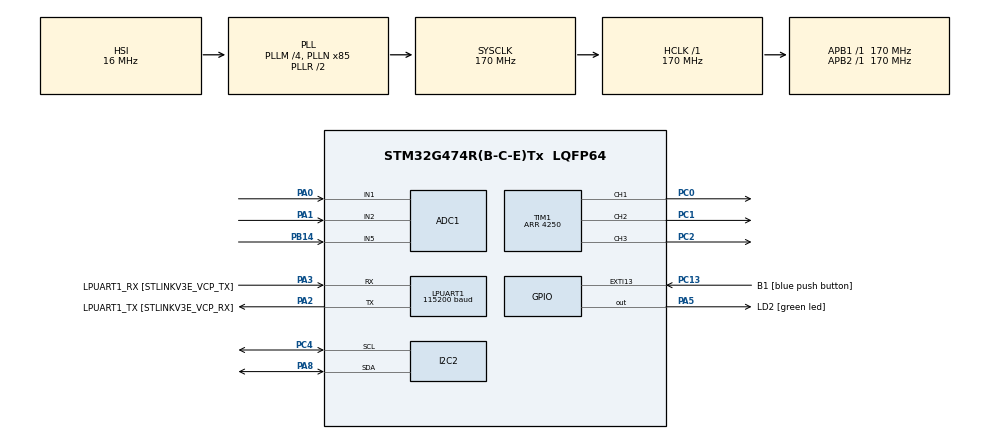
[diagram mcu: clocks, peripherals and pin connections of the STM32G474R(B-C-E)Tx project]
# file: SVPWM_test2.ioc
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ADC1.EnableInjectedConversion=ENABLE
ADC1.EnableRegularConversion=DISABLE
ADC1.ExternalTrigInjecConv=ADC_EXTERNALTRIGINJEC_T1_TRGO2
ADC1.InjNumberOfConversion=3
ADC1.InjectedChannel-10\#ChannelInjectedConversion=ADC_CHANNEL_2
ADC1.InjectedChannel-11\#ChannelInjectedConversion=ADC_CHANNEL_5
ADC1.InjectedChannel-8\#ChannelInjectedConversion=ADC_CHANNEL_1
ADC1.InjectedOffsetNumber-10\#ChannelInjectedConversion=ADC_OFFSET_NONE
ADC1.InjectedOffsetNumber-11\#ChannelInjectedConversion=ADC_OFFSET_NONE
ADC1.InjectedOffsetNumber-8\#ChannelInjectedConversion=ADC_OFFSET_NONE
ADC1.InjectedRank-10\#ChannelInjectedConversion=2
ADC1.InjectedRank-11\#ChannelInjectedConversion=3
ADC1.InjectedRank-8\#ChannelInjectedConversion=1
ADC1.InjectedSamplingTime-10\#ChannelInjectedConversion=ADC_SAMPLETIME_12CYCLES_5
ADC1.InjectedSamplingTime-11\#ChannelInjectedConversion=ADC_SAMPLETIME_12CYCLES_5
ADC1.InjectedSamplingTime-8\#ChannelInjectedConversion=ADC_SAMPLETIME_12CYCLES_5
ADC1.Rank2_Channel=ADC_CHANNEL_2
ADC1.Rank3_Channel=ADC_CHANNEL_5
ADC1.master=1
I2C2.Timing=0x30A0A7FB
LPUART1.BaudRate=115200
LPUART1.WordLength=UART_WORDLENGTH_8B
Mcu.Family=STM32G4
Mcu.Name=STM32G474R(B-C-E)Tx
Mcu.Package=LQFP64
NVIC.ADC1_2_IRQn=true\:0\:0\:false\:false\:true\:true\:true\:true
NVIC.EXTI15_10_IRQn=true\:0\:0\:false\:false\:true\:true\:true\:true
NVIC.PriorityGroup=NVIC_PRIORITYGROUP_4
PA0.Mode=IN1-Single-Ended
PA0.Signal=ADC1_IN1
PA1.Mode=IN2-Single-Ended
PA1.Signal=ADC1_IN2
PA13.GPIO_Label=T_SWDIO
PA13.Mode=Serial_Wire
PA13.Signal=SYS_JTMS-SWDIO
PA14.GPIO_Label=T_SWCLK
PA14.Mode=Serial_Wire
PA14.Signal=SYS_JTCK-SWCLK
PA2.GPIO_Label=LPUART1_TX [STLINKV3E_VCP_RX]
PA2.Mode=Asynchronous
PA2.Signal=LPUART1_TX
PA3.GPIO_Label=LPUART1_RX [STLINKV3E_VCP_TX]
PA3.Mode=Asynchronous
PA3.Signal=LPUART1_RX
PA5.GPIO_Label=LD2 [green led]
PA5.Signal=GPIO_Output
PA8.Mode=I2C
PA8.Signal=I2C2_SDA
PB14.Mode=IN5-Single-Ended
PB14.Signal=ADC1_IN5
PB3.GPIO_Label=T_SWO
PB3.Signal=SYS_JTDO-SWO
PC0.Signal=S_TIM1_CH1
PC1.Signal=S_TIM1_CH2
PC13.GPIO_Label=B1 [blue push button]
PC13.Signal=GPXTI13
PC14-OSC32_IN.Mode=LSE-External-Oscillator
PC14-OSC32_IN.Signal=RCC_OSC32_IN
PC15-OSC32_OUT.Mode=LSE-External-Oscillator
PC15-OSC32_OUT.Signal=RCC_OSC32_OUT
PC2.Signal=S_TIM1_CH3
PC4.Mode=I2C
PC4.Signal=I2C2_SCL
PF0-OSC_IN.Mode=HSE-External-Oscillator
PF0-OSC_IN.Signal=RCC_OSC_IN
PF1-OSC_OUT.Mode=HSE-External-Oscillator
PF1-OSC_OUT.Signal=RCC_OSC_OUT
ProjectManager.HeapSize=0x200
ProjectManager.StackSize=0x400
ProjectManager.TargetToolchain=STM32CubeIDE
RCC.ADC12Freq_Value=170000000
RCC.ADC345Freq_Value=170000000
RCC.AHBFreq_Value=170000000
RCC.APB1Freq_Value=170000000
RCC.APB1TimFreq_Value=170000000
RCC.APB2Freq_Value=170000000
RCC.APB2TimFreq_Value=170000000
RCC.CortexFreq_Value=170000000
RCC.EXTERNAL_CLOCK_VALUE=12288000
RCC.HCLKFreq_Value=170000000
RCC.HSE_VALUE=24000000
RCC.HSI48_VALUE=48000000
RCC.HSI_VALUE=16000000
RCC.PLLM=RCC_PLLM_DIV4
RCC.PLLN=85
RCC.RTCClockSelection=RCC_RTCCLKSOURCE_LSE
RCC.SYSCLKFreq_VALUE=170000000
RCC.SYSCLKSource=RCC_SYSCLKSOURCE_PLLCLK
RCC.USBFreq_Value=170000000
RCC.VCOOutputFreq_Value=340000000
SH.S_TIM1_CH1.0=TIM1_CH1,PWM Generation1 CH1
SH.S_TIM1_CH2.0=TIM1_CH2,PWM Generation2 CH2
SH.S_TIM1_CH3.0=TIM1_CH3,PWM Generation3 CH3
TIM1.Channel-PWM\ Generation1\ CH1=TIM_CHANNEL_1
TIM1.Channel-PWM\ Generation2\ CH2=TIM_CHANNEL_2
TIM1.Channel-PWM\ Generation3\ CH3=TIM_CHANNEL_3
TIM1.Channel-PWM\ Generation4\ No\ Output=TIM_CHANNEL_4
TIM1.CounterMode=TIM_COUNTERMODE_CENTERALIGNED1
TIM1.OCMode_PWM-PWM\ Generation1\ CH1=TIM_OCMODE_PWM2
TIM1.OCMode_PWM-PWM\ Generation2\ CH2=TIM_OCMODE_PWM2
TIM1.OCMode_PWM-PWM\ Generation3\ CH3=TIM_OCMODE_PWM2
TIM1.PeriodNoDither=4250
TIM1.RepetitionCounter=1
TIM1.TIM_MasterOutputTrigger=TIM_TRGO_RESET
TIM1.TIM_MasterOutputTrigger2=TIM_TRGO2_OC4REF
VP_SYS_VS_DBSignals.Mode=DisableDeadBatterySignals
VP_TIM1_VS_ClockSourceINT.Mode=Internal
VP_TIM1_VS_no_output4.Mode=PWM Generation4 No Output
board=NUCLEO-G474RE

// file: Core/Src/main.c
/* USER CODE BEGIN Header */
/**
  ******************************************************************************
  * @file           : main.c
  * @brief          : Main program body
  ******************************************************************************
  * @attention
  *
  * Copyright (c) 2025 STMicroelectronics.
  * All rights reserved.
  *
  * This software is licensed under terms that can be found in the LICENSE file
  * in the root directory of this software component.
  * If no LICENSE file comes with this software, it is provided AS-IS.
  *
  ******************************************************************************
  */
/* USER CODE END Header */
#include "main.h"

/* USER CODE BEGIN Includes */
#include <math.h>
#include <stdio.h>
/* USER CODE END Includes */

/* USER CODE BEGIN PD */
// --- ハードウェア定数 ---
#define POLE_PAIRS 7.0f       // GBM2804: 7極対
#define V_REF 12.0f           // 電源電圧 12V
#define PWM_PERIOD 4250.0f    // ARR値
#define DRV8311_GAIN 1.0f     // 電流センスゲイン [V/A]

// --- I2Cアドレス (AS5600) ---
#define AS5600_ADDR (0x36 << 1)

// --- 制御ゲイン (Day 17設定) ---
#define KP_GAIN 1.0f          // Pゲイン: 実機で 0.6 から引き上げ
#define KI_GAIN 1.3f         // Iゲイン: 積分で誤差を潰す
#define IQ_TARGET 0.6f        // 定数トルク指令で試す場合の目標電流 [A]
                              // ※バネ動作時は未使用（Iq_ref を計算で求める）

// 電圧制限 (12V電源の半分くらいを上限に、過剰な電圧を防ぐ)
#define VOLTAGE_LIMIT 6.0f

#define CONTROL_DT  (1.0f / 20000.0f)   // 制御周期 (50us)
/* USER CODE END PD */

ADC_HandleTypeDef hadc1;

I2C_HandleTypeDef hi2c2;

UART_HandleTypeDef hlpuart1;

TIM_HandleTypeDef htim1;

/* USER CODE BEGIN PV */
// --- FOC用 変数 ---
// 1. センサ値
float Theta_mech = 0.0f;      // 機械角 [rad]
float Theta_elec = 0.0f;      // 電気角 [rad]
float zero_offset_mech = 0.0f; // アライメントオフセット

// 2. 電流値 (ADC & 変換後)
// volatileをつけることでISRとMainでの共有を安全にする
volatile float g_Iu = 0.0f, g_Iv = 0.0f, g_Iw = 0.0f;
volatile float g_Id = 0.0f, g_Iq = 0.0f;

// 3. 角度共有用
volatile float g_theta_elec = 0.0f;
float g_total_angle = 0.0f;  // これが「何回転したか」を含む総角度
float prev_mech_angle = 0.0f; // 前回の角度を覚えておく

// 4. PI制御用
float Id_err_int = 0.0f;      // d軸積分項
float Iq_err_int = 0.0f;      // q軸積分項

// 5. 出力Duty (ログ用)
volatile float g_duty_u = 0.5f, g_duty_v = 0.5f, g_duty_w = 0.5f;

// 6. キャリブレーション (0A基準値)
float offset_u = 2048.0f;
float offset_v = 2048.0f;
float offset_w = 2048.0f;

// 制御有効フラグ
volatile uint8_t foc_enable = 0;

// --- サンプリング位置の検証用（制御には使わない。確認後は削除可） ---
// ISR が走った時点の TIM1 カウンタと計数方向を記録する。
// TRGO2=OC4REF / CCR4=2125 の場合、理論上は谷底の 12.5us 手前
// （ダウンカウント中の CNT≈2124）でトリガされるはず。
volatile uint32_t g_debug_cnt = 0;
volatile uint8_t  g_debug_dir = 0;   // 0 = アップカウント, 1 = ダウンカウント
/* USER CODE END PV */

void SystemClock_Config(void);
static void MX_GPIO_Init(void);
static void MX_LPUART1_UART_Init(void);
static void MX_TIM1_Init(void);
static void MX_ADC1_Init(void);
static void MX_I2C2_Init(void);

/* USER CODE BEGIN 0 */
// printf用
int _write(int file, char *ptr, int len) {
  HAL_UART_Transmit(&hlpuart1, (uint8_t *)ptr, len, 100);
  return len;
}

// AS5600 角度取得
float AS5600_GetAngle(void) {
    uint8_t raw[2];
    HAL_I2C_Mem_Read(&hi2c2, AS5600_ADDR, 0x0C, I2C_MEMADD_SIZE_8BIT, raw, 2, 10);
    uint16_t val = ((uint16_t)raw[0] << 8) | raw[1];
    return (float)val * (2.0f * M_PI / 4096.0f);
}

// 角度正規化
float normalize_angle(float angle) {
    float a = fmod(angle, 2.0f * M_PI);
    return (a < 0.0f) ? a + 2.0f * M_PI : a;
}

static inline float clampf(float x, float lo, float hi) {
    if (x < lo) return lo;
    if (x > hi) return hi;
    return x;
}

static inline void DWT_Init(void) {
  CoreDebug->DEMCR |= CoreDebug_DEMCR_TRCENA_Msk;
  DWT->CYCCNT = 0;
  DWT->CTRL |= DWT_CTRL_CYCCNTENA_Msk;
}
/* USER CODE END 0 */

int main(void)
{

  /* MCU Configuration--------------------------------------------------------*/

  /* Reset of all peripherals, Initializes the Flash interface and the Systick. */
  HAL_Init();

  /* Configure the system clock */
  SystemClock_Config();

  /* Initialize all configured peripherals */
  MX_GPIO_Init();
  MX_LPUART1_UART_Init();
  MX_TIM1_Init();
  MX_ADC1_Init();
  MX_I2C2_Init();
  /* USER CODE BEGIN 2 */
  SystemCoreClockUpdate();
    DWT_Init();

    printf("=== Day 17: Current Control Mode Start ===\r\n");

    // ADCトリガ用。CH4 は PWM Mode 1 なので、ダウンカウント中に
    // CNT が CCR4 を下回った瞬間に TRGO2 が立ち上がる。
    // CCR4=200 → 谷底の約 1.2us 手前でトリガし、3相の変換ウィンドウが
    // 谷底をまたぐ形になる（ローサイド ON 期間を外さないため）。
    //   旧: PWM_PERIOD*0.5f = 2125 → 谷底の 12.5us 手前（Duty>50% の相で
    //       ハイサイド ON のまま読んでいた）
    TIM1->CCR4 = 200;

    // PWM開始
    HAL_TIM_PWM_Start(&htim1, TIM_CHANNEL_1);
    HAL_TIM_PWM_Start(&htim1, TIM_CHANNEL_2);
    HAL_TIM_PWM_Start(&htim1, TIM_CHANNEL_3);
    HAL_TIM_PWM_Start(&htim1, TIM_CHANNEL_4); // ADCトリガ用

    // ADCキャリブレーション & 開始
    HAL_ADCEx_Calibration_Start(&hadc1, ADC_SINGLE_ENDED);
    // 割り込みはまだ有効にしない(enableフラグでガード)
    foc_enable = 0;
    HAL_ADCEx_InjectedStart_IT(&hadc1);

    // --- 1. オフセットキャリブレーション (電流センサ0点) ---
    printf("Calibrating Current Offsets...\r\n");
    // 全相LOW (Mode2なのでCCR=ARR)
    TIM1->CCR1 = 4250; TIM1->CCR2 = 4250; TIM1->CCR3 = 4250;
    HAL_Delay(500);

    long sum_u = 0, sum_v = 0, sum_w = 0;
    for(int i=0; i<1000; i++) {
      sum_u += ADC1->JDR1;
      sum_v += ADC1->JDR2;
      sum_w += ADC1->JDR3;
      HAL_Delay(1);
    }
    offset_u = (float)sum_u / 1000.0f;
    offset_v = (float)sum_v / 1000.0f;
    offset_w = (float)sum_w / 1000.0f;
    printf("Offsets: U=%.1f, V=%.1f, W=%.1f\r\n", offset_u, offset_v, offset_w);

    // --- 2. エンコーダアライメント (電気角0点合わせ) ---
    printf("Aligning Encoder...\r\n");
    // U相に電圧印加 (Mode2: CCR小 = Duty大)
    // Duty = (ARR - CCR) / ARR
    TIM1->CCR1 = 500;  // Duty 88.2% … ローターを確実に引き込むため Day16 より強め
    TIM1->CCR2 = 4250; // Duty  0%
    TIM1->CCR3 = 4250; // Duty  0%
    HAL_Delay(1000);

    float raw = AS5600_GetAngle();
    // ★重要: 前回成功した「逆回転ロジック」を維持
    //zero_offset_mech = 2.0f * M_PI - raw;
    //if(zero_offset_mech < 0) zero_offset_mech += 2.0f*M_PI;
    //if(zero_offset_mech > 2.0f*M_PI) zero_offset_mech -= 2.0f*M_PI;
    zero_offset_mech = raw;
    printf("Encoder Offset: %.2f rad\r\n", zero_offset_mech);

    // 電圧オフ
    TIM1->CCR1 = 4250; TIM1->CCR2 = 4250; TIM1->CCR3 = 4250;
    HAL_Delay(500);
    prev_mech_angle = AS5600_GetAngle(); // 逆回転対応不要ならそのまま
      g_total_angle = 0.0f; // ここを基準点(0)にする
    // --- 制御開始 ---
    printf("Start Closed Loop Control!\r\n");
    foc_enable = 1; // これでISR内の制御が走り出す
  /* USER CODE END 2 */

  /* Infinite loop */
  /* USER CODE BEGIN WHILE */
    int count = 0;
    while (1)
      {
    	float raw = AS5600_GetAngle();
    	      Theta_mech = raw; // 素直な値

    	      // 電気角計算 (FOC用)
    	      Theta_elec = normalize_angle((Theta_mech - zero_offset_mech) * POLE_PAIRS);
    	      g_theta_elec = Theta_elec; // ISRに渡す

    	      // ★追加: 累積角度の計算 (マルチターン対応)
    	      float delta = Theta_mech - prev_mech_angle;

    	      // 「0 ⇔ 2π」の継ぎ目またぎ検知
    	      if (delta > M_PI)  delta -= 2.0f * M_PI; // 0 -> 360 をまたいだ(逆回転)
    	      if (delta < -M_PI) delta += 2.0f * M_PI; // 360 -> 0 をまたいだ(正回転)

    	      g_total_angle += delta; // 変化量を足し込む
    	      prev_mech_angle = Theta_mech; // 次回用に保存

          // 2. ログ出力 (低頻度で)
          count++;
          if(count >= 50) { // ループ速度によるが適度に間引く
              // ISRで計算された電流値やDutyを表示
              // CNT/DIR はサンプリング位置の検証用（確認後は削除可）
              printf("Th:%.2f Id:%.2f Iq:%.2f du:%.2f CNT:%lu DIR:%u\r\n",
                      g_theta_elec, g_Id, g_Iq, g_duty_u,
                      (unsigned long)g_debug_cnt, (unsigned)g_debug_dir);
              count = 0;
          }
          // Delayは入れない（角度更新を早くするため）
      }

    /* USER CODE END WHILE */

}

void SystemClock_Config(void)
{
  RCC_OscInitTypeDef RCC_OscInitStruct = {0};
  RCC_ClkInitTypeDef RCC_ClkInitStruct = {0};

  /** Configure the main internal regulator output voltage
  */
  HAL_PWREx_ControlVoltageScaling(PWR_REGULATOR_VOLTAGE_SCALE1_BOOST);

  /** Initializes the RCC Oscillators according to the specified parameters
  * in the RCC_OscInitTypeDef structure.
  */
  RCC_OscInitStruct.OscillatorType = RCC_OSCILLATORTYPE_HSI;
  RCC_OscInitStruct.HSIState = RCC_HSI_ON;
  RCC_OscInitStruct.HSICalibrationValue = RCC_HSICALIBRATION_DEFAULT;
  RCC_OscInitStruct.PLL.PLLState = RCC_PLL_ON;
  RCC_OscInitStruct.PLL.PLLSource = RCC_PLLSOURCE_HSI;
  RCC_OscInitStruct.PLL.PLLM = RCC_PLLM_DIV4;
  RCC_OscInitStruct.PLL.PLLN = 85;
  RCC_OscInitStruct.PLL.PLLP = RCC_PLLP_DIV2;
  RCC_OscInitStruct.PLL.PLLQ = RCC_PLLQ_DIV2;
  RCC_OscInitStruct.PLL.PLLR = RCC_PLLR_DIV2;
  if (HAL_RCC_OscConfig(&RCC_OscInitStruct) != HAL_OK)
  {
    Error_Handler();
  }

  /** Initializes the CPU, AHB and APB buses clocks
  */
  RCC_ClkInitStruct.ClockType = RCC_CLOCKTYPE_HCLK|RCC_CLOCKTYPE_SYSCLK
                              |RCC_CLOCKTYPE_PCLK1|RCC_CLOCKTYPE_PCLK2;
  RCC_ClkInitStruct.SYSCLKSource = RCC_SYSCLKSOURCE_PLLCLK;
  RCC_ClkInitStruct.AHBCLKDivider = RCC_SYSCLK_DIV1;
  RCC_ClkInitStruct.APB1CLKDivider = RCC_HCLK_DIV1;
  RCC_ClkInitStruct.APB2CLKDivider = RCC_HCLK_DIV1;

  if (HAL_RCC_ClockConfig(&RCC_ClkInitStruct, FLASH_LATENCY_4) != HAL_OK)
  {
    Error_Handler();
  }
}

static void MX_ADC1_Init(void)
{

  ADC_MultiModeTypeDef multimode = {0};
  ADC_InjectionConfTypeDef sConfigInjected = {0};

  /** Common config
  */
  hadc1.Instance = ADC1;
  hadc1.Init.ClockPrescaler = ADC_CLOCK_SYNC_PCLK_DIV4;
  hadc1.Init.Resolution = ADC_RESOLUTION_12B;
  hadc1.Init.DataAlign = ADC_DATAALIGN_RIGHT;
  hadc1.Init.GainCompensation = 0;
  hadc1.Init.ScanConvMode = ADC_SCAN_ENABLE;
  hadc1.Init.EOCSelection = ADC_EOC_SINGLE_CONV;
  hadc1.Init.LowPowerAutoWait = DISABLE;
  hadc1.Init.ContinuousConvMode = DISABLE;
  hadc1.Init.NbrOfConversion = 1;
  hadc1.Init.DiscontinuousConvMode = DISABLE;
  hadc1.Init.DMAContinuousRequests = DISABLE;
  hadc1.Init.Overrun = ADC_OVR_DATA_PRESERVED;
  hadc1.Init.OversamplingMode = DISABLE;
  if (HAL_ADC_Init(&hadc1) != HAL_OK)
  {
    Error_Handler();
  }

  /** Configure the ADC multi-mode
  */
  multimode.Mode = ADC_MODE_INDEPENDENT;
  if (HAL_ADCEx_MultiModeConfigChannel(&hadc1, &multimode) != HAL_OK)
  {
    Error_Handler();
  }

  /** Configure Injected Channel
  */
  sConfigInjected.InjectedChannel = ADC_CHANNEL_1;
  sConfigInjected.InjectedRank = ADC_INJECTED_RANK_1;
  sConfigInjected.InjectedSamplingTime = ADC_SAMPLETIME_12CYCLES_5;
  sConfigInjected.InjectedSingleDiff = ADC_SINGLE_ENDED;
  sConfigInjected.InjectedOffsetNumber = ADC_OFFSET_NONE;
  sConfigInjected.InjectedOffset = 0;
  sConfigInjected.InjectedNbrOfConversion = 3;
  sConfigInjected.InjectedDiscontinuousConvMode = DISABLE;
  sConfigInjected.AutoInjectedConv = DISABLE;
  sConfigInjected.QueueInjectedContext = DISABLE;
  sConfigInjected.ExternalTrigInjecConv = ADC_EXTERNALTRIGINJEC_T1_TRGO2;
  sConfigInjected.ExternalTrigInjecConvEdge = ADC_EXTERNALTRIGINJECCONV_EDGE_RISING;
  sConfigInjected.InjecOversamplingMode = DISABLE;
  if (HAL_ADCEx_InjectedConfigChannel(&hadc1, &sConfigInjected) != HAL_OK)
  {
    Error_Handler();
  }

  /** Configure Injected Channel
  */
  sConfigInjected.InjectedChannel = ADC_CHANNEL_2;
  sConfigInjected.InjectedRank = ADC_INJECTED_RANK_2;
  if (HAL_ADCEx_InjectedConfigChannel(&hadc1, &sConfigInjected) != HAL_OK)
  {
    Error_Handler();
  }

  /** Configure Injected Channel
  */
  sConfigInjected.InjectedChannel = ADC_CHANNEL_5;
  sConfigInjected.InjectedRank = ADC_INJECTED_RANK_3;
  if (HAL_ADCEx_InjectedConfigChannel(&hadc1, &sConfigInjected) != HAL_OK)
  {
    Error_Handler();
  }

}

static void MX_I2C2_Init(void)
{

  hi2c2.Instance = I2C2;
  hi2c2.Init.Timing = 0x30A0A7FB;
  hi2c2.Init.OwnAddress1 = 0;
  hi2c2.Init.AddressingMode = I2C_ADDRESSINGMODE_7BIT;
  hi2c2.Init.DualAddressMode = I2C_DUALADDRESS_DISABLE;
  hi2c2.Init.OwnAddress2 = 0;
  hi2c2.Init.OwnAddress2Masks = I2C_OA2_NOMASK;
  hi2c2.Init.GeneralCallMode = I2C_GENERALCALL_DISABLE;
  hi2c2.Init.NoStretchMode = I2C_NOSTRETCH_DISABLE;
  if (HAL_I2C_Init(&hi2c2) != HAL_OK)
  {
    Error_Handler();
  }

  /** Configure Analogue filter
  */
  if (HAL_I2CEx_ConfigAnalogFilter(&hi2c2, I2C_ANALOGFILTER_ENABLE) != HAL_OK)
  {
    Error_Handler();
  }

  /** Configure Digital filter
  */
  if (HAL_I2CEx_ConfigDigitalFilter(&hi2c2, 0) != HAL_OK)
  {
    Error_Handler();
  }

}

static void MX_LPUART1_UART_Init(void)
{

  hlpuart1.Instance = LPUART1;
  hlpuart1.Init.BaudRate = 115200;
  hlpuart1.Init.WordLength = UART_WORDLENGTH_8B;
  hlpuart1.Init.StopBits = UART_STOPBITS_1;
  hlpuart1.Init.Parity = UART_PARITY_NONE;
  hlpuart1.Init.Mode = UART_MODE_TX_RX;
  hlpuart1.Init.HwFlowCtl = UART_HWCONTROL_NONE;
  hlpuart1.Init.OneBitSampling = UART_ONE_BIT_SAMPLE_DISABLE;
  hlpuart1.Init.ClockPrescaler = UART_PRESCALER_DIV1;
  hlpuart1.AdvancedInit.AdvFeatureInit = UART_ADVFEATURE_NO_INIT;
  if (HAL_UART_Init(&hlpuart1) != HAL_OK)
  {
    Error_Handler();
  }
  if (HAL_UARTEx_SetTxFifoThreshold(&hlpuart1, UART_TXFIFO_THRESHOLD_1_8) != HAL_OK)
  {
    Error_Handler();
  }
  if (HAL_UARTEx_SetRxFifoThreshold(&hlpuart1, UART_RXFIFO_THRESHOLD_1_8) != HAL_OK)
  {
    Error_Handler();
  }
  if (HAL_UARTEx_DisableFifoMode(&hlpuart1) != HAL_OK)
  {
    Error_Handler();
  }

}

static void MX_TIM1_Init(void)
{

  TIM_ClockConfigTypeDef sClockSourceConfig = {0};
  TIM_MasterConfigTypeDef sMasterConfig = {0};
  TIM_OC_InitTypeDef sConfigOC = {0};
  TIM_BreakDeadTimeConfigTypeDef sBreakDeadTimeConfig = {0};

  htim1.Instance = TIM1;
  htim1.Init.Prescaler = 0;
  htim1.Init.CounterMode = TIM_COUNTERMODE_CENTERALIGNED1;
  htim1.Init.Period = 4250;
  htim1.Init.ClockDivision = TIM_CLOCKDIVISION_DIV1;
  htim1.Init.RepetitionCounter = 1;
  htim1.Init.AutoReloadPreload = TIM_AUTORELOAD_PRELOAD_DISABLE;
  if (HAL_TIM_Base_Init(&htim1) != HAL_OK)
  {
    Error_Handler();
  }
  sClockSourceConfig.ClockSource = TIM_CLOCKSOURCE_INTERNAL;
  if (HAL_TIM_ConfigClockSource(&htim1, &sClockSourceConfig) != HAL_OK)
  {
    Error_Handler();
  }
  if (HAL_TIM_PWM_Init(&htim1) != HAL_OK)
  {
    Error_Handler();
  }
  sMasterConfig.MasterOutputTrigger = TIM_TRGO_RESET;
  sMasterConfig.MasterOutputTrigger2 = TIM_TRGO2_OC4REF;
  sMasterConfig.MasterSlaveMode = TIM_MASTERSLAVEMODE_DISABLE;
  if (HAL_TIMEx_MasterConfigSynchronization(&htim1, &sMasterConfig) != HAL_OK)
  {
    Error_Handler();
  }
  sConfigOC.OCMode = TIM_OCMODE_PWM2;
  sConfigOC.Pulse = 0;
  sConfigOC.OCPolarity = TIM_OCPOLARITY_HIGH;
  sConfigOC.OCNPolarity = TIM_OCNPOLARITY_HIGH;
  sConfigOC.OCFastMode = TIM_OCFAST_DISABLE;
  sConfigOC.OCIdleState = TIM_OCIDLESTATE_RESET;
  sConfigOC.OCNIdleState = TIM_OCNIDLESTATE_RESET;
  if (HAL_TIM_PWM_ConfigChannel(&htim1, &sConfigOC, TIM_CHANNEL_1) != HAL_OK)
  {
    Error_Handler();
  }
  if (HAL_TIM_PWM_ConfigChannel(&htim1, &sConfigOC, TIM_CHANNEL_2) != HAL_OK)
  {
    Error_Handler();
  }
  if (HAL_TIM_PWM_ConfigChannel(&htim1, &sConfigOC, TIM_CHANNEL_3) != HAL_OK)
  {
    Error_Handler();
  }
  sConfigOC.OCMode = TIM_OCMODE_PWM1;
  if (HAL_TIM_PWM_ConfigChannel(&htim1, &sConfigOC, TIM_CHANNEL_4) != HAL_OK)
  {
    Error_Handler();
  }
  sBreakDeadTimeConfig.OffStateRunMode = TIM_OSSR_DISABLE;
  sBreakDeadTimeConfig.OffStateIDLEMode = TIM_OSSI_DISABLE;
  sBreakDeadTimeConfig.LockLevel = TIM_LOCKLEVEL_OFF;
  sBreakDeadTimeConfig.DeadTime = 0;
  sBreakDeadTimeConfig.BreakState = TIM_BREAK_DISABLE;
  sBreakDeadTimeConfig.BreakPolarity = TIM_BREAKPOLARITY_HIGH;
  sBreakDeadTimeConfig.BreakFilter = 0;
  sBreakDeadTimeConfig.BreakAFMode = TIM_BREAK_AFMODE_INPUT;
  sBreakDeadTimeConfig.Break2State = TIM_BREAK2_DISABLE;
  sBreakDeadTimeConfig.Break2Polarity = TIM_BREAK2POLARITY_HIGH;
  sBreakDeadTimeConfig.Break2Filter = 0;
  sBreakDeadTimeConfig.Break2AFMode = TIM_BREAK_AFMODE_INPUT;
  sBreakDeadTimeConfig.AutomaticOutput = TIM_AUTOMATICOUTPUT_DISABLE;
  if (HAL_TIMEx_ConfigBreakDeadTime(&htim1, &sBreakDeadTimeConfig) != HAL_OK)
  {
    Error_Handler();
  }
  HAL_TIM_MspPostInit(&htim1);

}

static void MX_GPIO_Init(void)
{
  GPIO_InitTypeDef GPIO_InitStruct = {0};

  /* GPIO Ports Clock Enable */
  __HAL_RCC_GPIOC_CLK_ENABLE();
  __HAL_RCC_GPIOF_CLK_ENABLE();
  __HAL_RCC_GPIOA_CLK_ENABLE();
  __HAL_RCC_GPIOB_CLK_ENABLE();

  /*Configure GPIO pin Output Level */
  HAL_GPIO_WritePin(LD2_GPIO_Port, LD2_Pin, GPIO_PIN_RESET);

  /*Configure GPIO pin : B1_Pin */
  GPIO_InitStruct.Pin = B1_Pin;
  GPIO_InitStruct.Mode = GPIO_MODE_IT_RISING;
  GPIO_InitStruct.Pull = GPIO_NOPULL;
  HAL_GPIO_Init(B1_GPIO_Port, &GPIO_InitStruct);

  /*Configure GPIO pin : LD2_Pin */
  GPIO_InitStruct.Pin = LD2_Pin;
  GPIO_InitStruct.Mode = GPIO_MODE_OUTPUT_PP;
  GPIO_InitStruct.Pull = GPIO_NOPULL;
  GPIO_InitStruct.Speed = GPIO_SPEED_FREQ_LOW;
  HAL_GPIO_Init(LD2_GPIO_Port, &GPIO_InitStruct);

  /* EXTI interrupt init*/
  HAL_NVIC_SetPriority(EXTI15_10_IRQn, 0, 0);
  HAL_NVIC_EnableIRQ(EXTI15_10_IRQn);

}

/* USER CODE BEGIN 4 */
void HAL_ADCEx_InjectedConvCpltCallback(ADC_HandleTypeDef *hadc)
{
    // ADC1以外からの呼び出しや、FOC無効時は何もしない
    if (hadc->Instance != ADC1 || !foc_enable) return;

    // サンプリング位置の検証用（最優先で読む。制御には影響しない）
    g_debug_cnt = TIM1->CNT;
    g_debug_dir = (TIM1->CR1 & TIM_CR1_DIR) ? 1 : 0;

    // 1. 電流取得 & [A]変換

     float Iu_l = ((float)ADC1->JDR1 - offset_u) * (3.3f / 4095.0f) / DRV8311_GAIN;
     float Iv_l = ((float)ADC1->JDR2 - offset_v) * (3.3f / 4095.0f) / DRV8311_GAIN;
     float Iw_l = ((float)ADC1->JDR3 - offset_w) * (3.3f / 4095.0f) / DRV8311_GAIN;

    //float Iu_l = (offset_u - (float)ADC1->JDR1) * (3.3f / 4095.0f) / DRV8311_GAIN;
    //float Iv_l = (offset_v - (float)ADC1->JDR2) * (3.3f / 4095.0f) / DRV8311_GAIN;
    //float Iw_l = (offset_w - (float)ADC1->JDR3) * (3.3f / 4095.0f) / DRV8311_GAIN;
    // オフセット微調整 (3相合計が0になるように)
    float Iavg = (Iu_l + Iv_l + Iw_l) / 3.0f;
    Iu_l -= Iavg;
    Iv_l -= Iavg;
    Iw_l -= Iavg;

    // グローバル変数へ反映(ログ用)
    g_Iu = Iu_l; g_Iv = Iv_l; g_Iw = Iw_l;

    // 2. 座標変換 (Clarke & Park)
    // メインループで更新された最新の角度を使う
    float th = g_theta_elec;
    float c = cosf(th);
    float s = sinf(th);

    float I_alpha = Iu_l;
    float I_beta  = (Iu_l + 2.0f * Iv_l) * 0.57735f; // 1/sqrt(3)

    float Id_l =  I_alpha * c + I_beta * s;
    float Iq_l = -I_alpha * s + I_beta * c;

    g_Id = Id_l; g_Iq = Iq_l;

    // ① 目標は「累積角度 0」 (起動した場所)
        float target = 0.0f;

        // ② ズレを計算 (単純な引き算)
        // ★重要: ここで if(> PI)... のような正規化をしてはいけません！
        // 遠くに行けば行くほど値を大きくするためです。
        float angle_err = target - g_total_angle;

        // ③ バネ定数 (K)
        float spring_k = 0.5f; // 好みで調整

        // ④ 目標電流
        float Iq_ref = spring_k * angle_err;

        // ★重要: 安全リミットを広げる
        // 遠くまで回した時に強い力を出すため、モーター定格付近まで許可
        if (Iq_ref > 1.5f) Iq_ref = 1.5f;
        if (Iq_ref < -1.5f) Iq_ref = -1.5f;

        // ===== ここから下は「電流PI制御」 (目標に追従させる処理) =====

        // --- d軸 (目標 0A: 常に0にする) ---
        float Id_err = 0.0f - Id_l;
        Id_err_int += Id_err * CONTROL_DT;
        // ... (d軸の積分リミットや計算はそのまま) ...
        float limit_i = VOLTAGE_LIMIT / KI_GAIN; // 定義がない場合は直接数値を書いてもOK
        Id_err_int = clampf(Id_err_int, -limit_i, limit_i);
        float Vd_l = KP_GAIN * Id_err + KI_GAIN * Id_err_int;

        // --- q軸 (目標 Iq_ref: さっき計算したバネの力) ---
        float Iq_err = Iq_ref - Iq_l; // 上で作った Iq_ref を使用
        // ★ここを変更: IQ_TARGET ではなく、計算した Iq_ref を使う
        //float Iq_err = Iq_ref - Iq_l;

        Iq_err_int += Iq_err * CONTROL_DT;
        Iq_err_int = clampf(Iq_err_int, -limit_i, limit_i);

        float Vq_l = KP_GAIN * Iq_err + KI_GAIN * Iq_err_int;

    // 4. 逆変換 & SVPWM
    float Valpha = Vd_l * c - Vq_l * s;
    float Vbeta  = Vd_l * s + Vq_l * c;

    float U_ref = Valpha;
    float V_ref = (-0.5f * Valpha) + (0.866f * Vbeta);
    float W_ref = (-0.5f * Valpha) - (0.866f * Vbeta);

    // ゼロ相注入 (SVPWM)
    float v_max = U_ref;
    if(V_ref > v_max) v_max = V_ref;
    if(W_ref > v_max) v_max = W_ref;

    float v_min = U_ref;
    if(V_ref < v_min) v_min = V_ref;
    if(W_ref < v_min) v_min = W_ref;

    float v_zero = -0.5f * (v_max + v_min);
    U_ref += v_zero;
    V_ref += v_zero;
    W_ref += v_zero;

    // 5. Duty計算 & PWM更新
    float du = (U_ref / V_REF) + 0.5f;
    float dv = (V_ref / V_REF) + 0.5f;
    float dw = (W_ref / V_REF) + 0.5f;

    du = clampf(du, 0.05f, 0.95f);
    dv = clampf(dv, 0.05f, 0.95f);
    dw = clampf(dw, 0.05f, 0.95f);

    g_duty_u = du; // ログ用

    // Mode 2 なので (1-duty)
    TIM1->CCR1 = (uint32_t)((1.0f - du) * PWM_PERIOD);
    TIM1->CCR2 = (uint32_t)((1.0f - dv) * PWM_PERIOD);
    TIM1->CCR3 = (uint32_t)((1.0f - dw) * PWM_PERIOD);
}
/* USER CODE END 4 */

void Error_Handler(void)
{
  __disable_irq();
  while (1)
  {
  }
}
